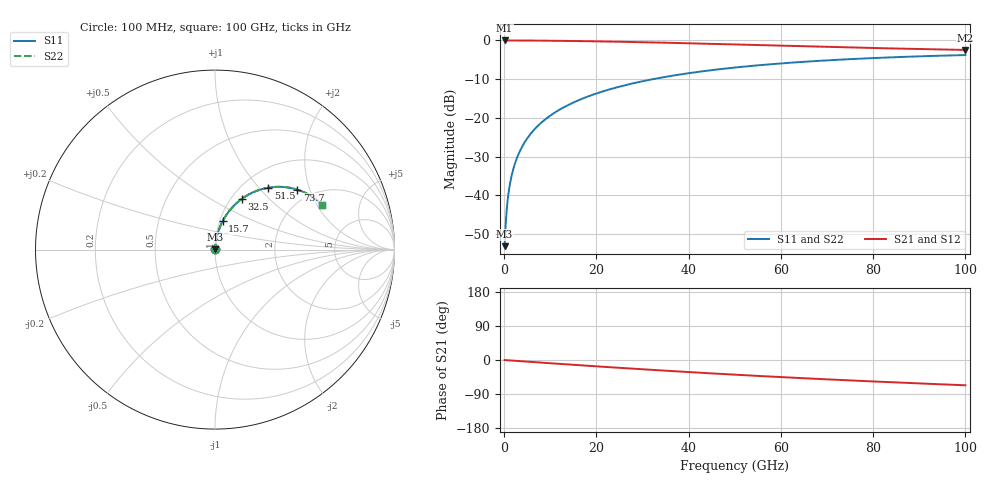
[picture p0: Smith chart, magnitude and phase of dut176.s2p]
! Touchstone file exported from HFSS 2026.1.0
!  File:  C:/ffzhzh/LocalFiles/Ansys_Project_Files/temp_train_RDL_176_1783500311_55944.aedt
!  Generated:  04:46:17 PM Jul  8, 2026
!  Design:  RDL
!  Project:  temp_train_RDL_176_1783500311_55944
! Variables:
!  h_bsmrdl = 2um
!  h_ox = 20um
!  h_rdl = 5um
!  h_sub = 80um
!  h_tmrdl = 3.39um
!  h_tsv = 80um
!  h_via = 3um
!  l_bsmrdl = 300um
!  l_sub = 581.98um
!  l_tmrdl = 181.98um
!  m_sub = 200um
!  pitch = 40.98um
!  r_tsv = 6um
!  s_tmrdl = 10um
!  w_bsmrdl = 18um
!  w_sub = 500um
!  w_tmrdl = 10.75um
!  x_tsv_center1 = 187.355um
!  x_tsv_center2 = 505.355um
!  x_tsv_center3 = 698.085um
!  x_tsv_center4 = 1016.085um
!  x_tsv_center5 = 1208.815um
!  x_tsv_center6 = 1526.815um
# GHz S MA R 50.000000
! Terminal data exported
! Port[1] = TM_RDL1_1_T1
! Port[2] = TM_RDL1_1_T2
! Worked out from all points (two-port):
!   1000 points, 100 MHz to 100 GHz, reference 50 ohm
!   highest |S21| = -0.02 dB at 100 MHz (marker M1); lowest = -2.5 dB at 100 GHz (marker M2)
!   |S21| within 3 dB of the highest: start of sweep to end of sweep
!   lowest |S11| = -53.1 dB at 100 MHz (marker M3), VSWR 1.00, Z = 50.2 + j0.114 ohm
!   |S11| at or under -10 dB: start of sweep to 32.25 GHz
!   |S22| runs from -53.1 to -3.8 dB; largest |S21 - S12| = 4.2e-15
!   S11 on the Smith chart (normalised r, x): 100 MHz: 1.00, +0.00; 15.7 GHz: 1.03, +0.34; 32.5 GHz: 1.12, +0.70; 51.5 GHz: 1.29, +1.13; 73.7 GHz: 1.68, +1.65; 100 GHz: 2.59, +2.22
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0.1  0.002217 30.8  0.9981 -0.1  0.9981 -0.1  0.002217 30.8
! Gamma 0 0 0 0
! Port Impedance 50 0 50 0
0.4  0.004921 65.9  0.998 -0.4  0.998 -0.4  0.004921 65.9
0.9  0.0102 77.3  0.9978 -0.8  0.9978 -0.8  0.0102 77.3
1.2  0.01342 79.7  0.9978 -1.0  0.9978 -1.0  0.01342 79.7
1.5  0.01665 81.1  0.9977 -1.3  0.9977 -1.3  0.01665 81.1
2  0.02206 82.3  0.9975 -1.7  0.9975 -1.7  0.02206 82.3
2.5  0.02747 82.9  0.9973 -2.2  0.9973 -2.2  0.02747 82.9
3.9  0.04259 83.1  0.9965 -3.4  0.9965 -3.4  0.04259 83.1
5.9  0.06403 82.2  0.9949 -5.1  0.9949 -5.1  0.06403 82.2
8.5  0.09149 80.4  0.9922 -7.3  0.9922 -7.3  0.09149 80.4
11.7  0.1246 78.0  0.9878 -10.0  0.9878 -10.0  0.1246 78.0
15.7  0.1648 74.9  0.981 -13.2  0.981 -13.2  0.1648 74.9
16.8  0.1756 74.1  0.979 -14.1  0.979 -14.1  0.1756 74.1
23.8  0.2422 68.7  0.9637 -19.7  0.9637 -19.7  0.2422 68.7
32.5  0.3183 62.3  0.9406 -26.4  0.9406 -26.4  0.3183 62.3
33.4  0.3257 61.6  0.938 -27.1  0.938 -27.1  0.3257 61.6
50.1  0.447 50.1  0.8861 -38.8  0.8861 -38.8  0.447 50.1
51.5  0.4558 49.2  0.8816 -39.7  0.8816 -39.7  0.4558 49.2
66.7  0.5377 39.9  0.8344 -49.2  0.8344 -49.2  0.5377 40.0
73.7  0.5679 36.0  0.8144 -53.2  0.8144 -53.2  0.5679 36.0
83.4  0.603 30.8  0.7891 -58.4  0.7891 -58.4  0.603 30.8
100  0.6471 22.6  0.7538 -66.7  0.7538 -66.7  0.6472 22.6
